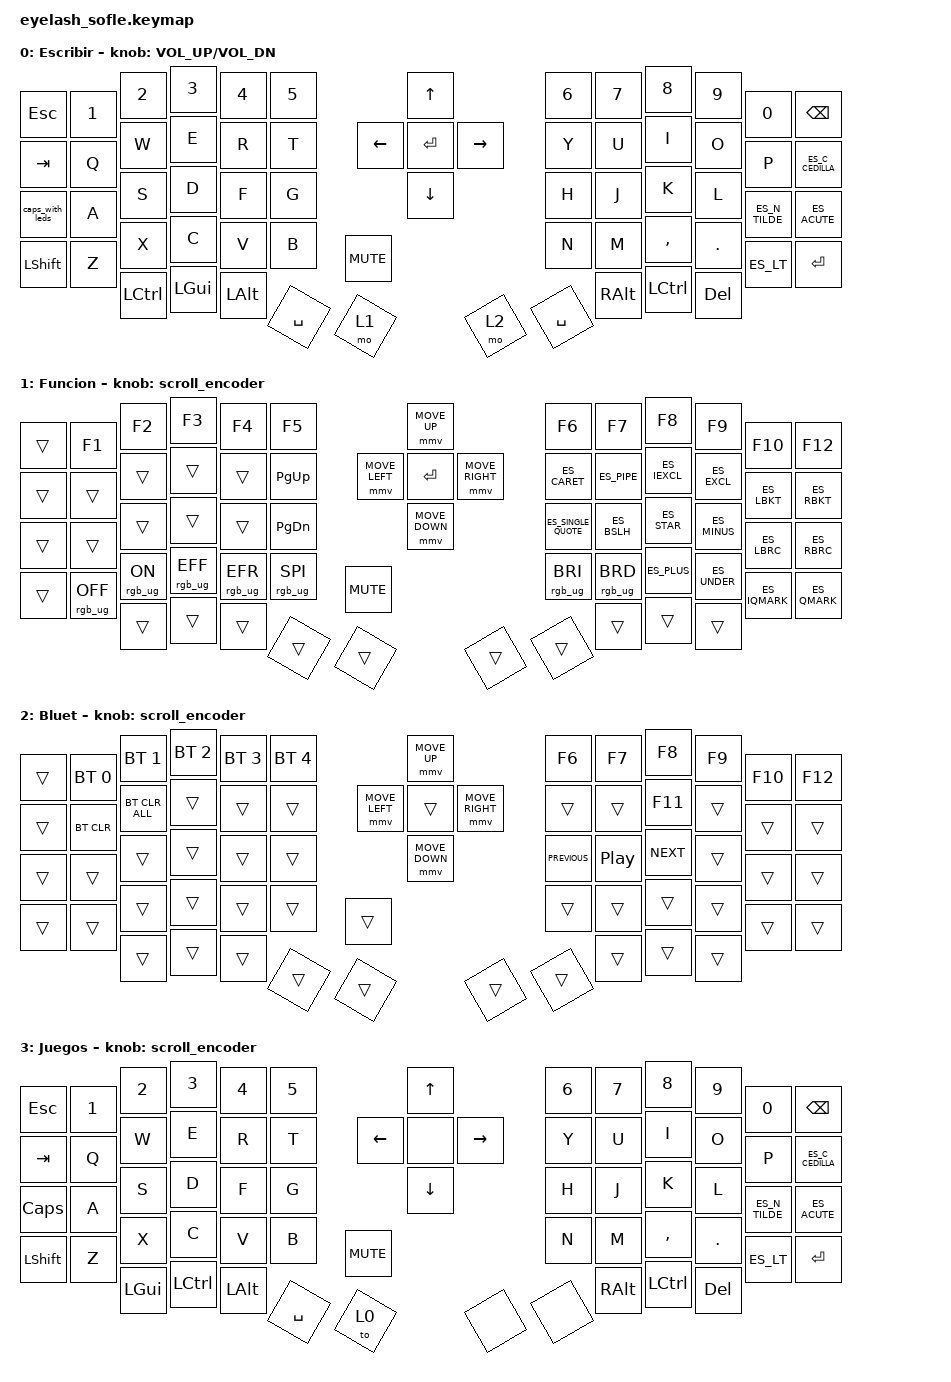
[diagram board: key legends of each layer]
#define ZMK_POINTING_DEFAULT_MOVE_VAL 1200  // 600
#define ZMK_POINTING_DEFAULT_SCRL_VAL 25   // 10
#define C_MUTE                 HID_USAGE(HID_USAGE_CONSUMER, 0xE2)
#define C_MICROPHONE_MUTE      HID_USAGE(HID_USAGE_CONSUMER, 0xF8)


#include <input/processors.dtsi>
#include <zephyr/dt-bindings/input/input-event-codes.h>
#include <behaviors.dtsi>
#include <dt-bindings/zmk/bt.h>
#include <dt-bindings/zmk/keys.h>
#include <dt-bindings/zmk/outputs.h>
#include <dt-bindings/zmk/pointing.h>
#include <dt-bindings/zmk/rgb.h>
#include "keys_es.h"

&mmv_input_listener { input-processors = <&zip_xy_scaler 2 1>; };

&msc_input_listener { input-processors = <&zip_scroll_scaler 2 1>; };

&msc {
    acceleration-exponent = <1>;      // 0
    time-to-max-speed-ms = <100>;       // 300
    delay-ms = <0>;                   // 0
};

&mmv {
    time-to-max-speed-ms = <500>;
    acceleration-exponent = <1>;
    trigger-period-ms = <16>;
};

&soft_off { hold-time-ms = <2000>; };

/ {
    scroll_encoder: scroll_encoder {
        compatible = "zmk,behavior-sensor-rotate";
        #sensor-binding-cells = <0>;
        bindings = <&msc SCRL_DOWN>, <&msc SCRL_UP>;

        tap-ms = <100>;
    };


    behaviors {
        caps_with_leds: caps_with_leds {
        compatible = "zmk,behavior-macro";
        #binding-cells = <0>;
    
        bindings = <&kp CAPSLOCK &rgb_ug RGB_TOG>;
        };
    };

    combos {
        compatible = "zmk,combos";

        softoff {
            bindings = <&soft_off>;
            key-positions = <14 28 40>;
        };

        to_layer3 {
            bindings = <&to 3>;
            key-positions = <57 59>;
        };

         back_to_layer0 {
            bindings = <&to 0>;
            key-positions = <57 59>;  
            layers = <3>;            
        };
    };

    keymap {
        compatible = "zmk,keymap";

//┌─────────────┬───────────┬───────────┬───────────┬───────────┬───────────┬─────────────┬───────────┬───────────┬───────────┬───────────┬───────────┬─────────────┐
//│    ESC    │    N1     │    N2     │    N3     │    N4     │    N5     │  UP_ARROW   │    N6     │    N7     │    N8     │    N9     │    N0     │   BACKSPACE   │
//├───────────┼───────────┼───────────┼───────────┼───────────┼───────────┼─────────────┼───────────┼───────────┼───────────┼───────────┼───────────┼───────────────┤
//│    TAB    │     Q     │     W     │     E     │     R     │     T     │ DOWN_ARROW  │     Y     │     U     │     I     │     O     │     P     │ ES_C_CEDILLA  │
//├───────────┼───────────┼───────────┼───────────┼───────────┼───────────┼─────────────┼───────────┼───────────┼───────────┼───────────┼───────────┼───────────────┤
//│   CAPS    │     A     │     S     │     D     │     F     │     G     │ LEFT_ARROW  │     H     │     J     │     K     │     L     │ ES_N_TILDE │   ES_ACUTE   │
//├───────────┼───────────┼───────────┼───────────┼───────────┼───────────┼─────────────┼───────────┼───────────┼───────────┼───────────┼───────────┼───────────────┤
//│  LSHFT    │     Z     │     X     │     C     │     V     │     B     │ RIGHT_ARROW │     N     │     M     │   COMMA   │    DOT    │   ES_LT   │     ENTER     │
//├───────────┼───────────┼───────────┼───────────┼───────────┼───────────┼─────────────┼───────────┼───────────┼───────────┼───────────┼───────────┴───────────────┤
//│  C_MUTE   │   LCTRL   │  LEFT_GUI │  LEFT_ALT │   SPACE   │   MO 1    │    ENTER    │   MO 2    │   SPACE   │   RALT    │   LCTRL   │   DELETE  │               │
//└───────────┴───────────┴───────────┴───────────┴───────────┴───────────┴─────────────┴───────────┴───────────┴───────────┴───────────┴───────────┴───────────────┘



        layer0 {
            bindings = <
&kp ESC     &kp N1     &kp N2        &kp N3        &kp N4  &kp N5       &kp UP_ARROW     &kp N6     &kp N7     &kp N8     &kp N9           &kp N0      &kp BACKSPACE
&kp TAB     &kp Q      &kp W         &kp E         &kp R   &kp T        &kp DOWN_ARROW   &kp Y      &kp U      &kp I      &kp O            &kp P       &kp ES_C_CEDILLA
&caps_with_leds  &kp A &kp S         &kp D         &kp F   &kp G   &kp LEFT_ARROW   &kp H      &kp J      &kp K      &kp L            &kp ES_N_TILDE  &kp ES_ACUTE
&kp LSHFT   &kp Z      &kp X         &kp C         &kp V   &kp B        &kp RIGHT_ARROW  &kp N      &kp M      &kp COMMA  &kp DOT          &kp ES_LT       &kp ENTER
&kp C_MUTE  &kp LCTRL  &kp LEFT_GUI  &kp LEFT_ALT  &kp SPACE &mo 1      &kp ENTER        &mo 2      &kp SPACE  &kp RALT   &kp LCTRL        &kp DELETE
            >;

            sensor-bindings = <&inc_dec_kp C_VOLUME_UP C_VOL_DN>;
            display-name = "Escribir";
        };

//┌───────────┬───────────┬───────────┬───────────┬───────────┬───────────┬─────────────┬───────────┬───────────┬───────────┬───────────┬───────────┬───────────────┐
//│   TRANS   │    F1     │    F2     │    F3     │    F4     │    F5     │  MOVE_UP    │    F6     │    F7     │    F8     │    F9     │   F10     │     F12       │
//├───────────┼───────────┼───────────┼───────────┼───────────┼───────────┼─────────────┼───────────┼───────────┼───────────┼───────────┼───────────┼───────────────┤
//│   TRANS   │   TRANS   │   TRANS   │   TRANS   │   TRANS   │  PAGE_UP  │ MOVE_DOWN   │   CARET   │     |     │    ¡      │     !     │     [     │     ]         │
//├───────────┼───────────┼───────────┼───────────┼───────────┼───────────┼─────────────┼───────────┼───────────┼───────────┼───────────┼───────────┼───────────────┤
//│   TRANS   │   TRANS   │   TRANS   │   TRANS   │   TRANS   │  PAGE_DN  │ MOVE_LEFT   │    '      │     \     │    *      │     -     │     {     │     }         │
//├───────────┼───────────┼───────────┼───────────┼───────────┼───────────┼─────────────┼───────────┼───────────┼───────────┼───────────┼───────────┼───────────────┤
//│   TRANS   │  RGB_OFF  │  RGB_ON   │  R_EFF    │  R_EFR    │  R_SPI    │ MOVE_RGHT   │  R_BRI    │  R_BRD    │    +      │    _      │    ¿      │     ?         │
//├───────────┼───────────┼───────────┼───────────┼───────────┼───────────┼─────────────┼───────────┼───────────┼───────────┼───────────┼───────────┴───────────────┤
//│   MUTE    │   TRANS   │   TRANS   │   TRANS   │   TRANS   │   TRANS   │    TRANS    │   TRANS   │   TRANS   │   TRANS   │   TRANS   │   TRANS   │               │
//└───────────┴───────────┴───────────┴───────────┴───────────┴───────────┴─────────────┴───────────┴───────────┴───────────┴───────────┴───────────┴───────────────┘



        layer_1 {
            bindings = <
&trans   &kp F1           &kp F2          &kp F3           &kp F4           &kp F5             &mmv MOVE_UP     &kp F6               &kp F7           &kp F8        &kp F9        &kp F10           &kp F12
&trans   &trans           &trans          &trans           &trans           &kp PG_UP          &mmv MOVE_DOWN   &kp ES_CARET         &kp ES_PIPE      &kp ES_IEXCL   &kp ES_EXCL  &kp ES_LBKT       &kp ES_RBKT
&trans   &trans           &trans          &trans           &trans           &kp PG_DN          &mmv MOVE_LEFT   &kp ES_SINGLE_QUOTE  &kp ES_BSLH      &kp ES_STAR   &kp ES_MINUS  &kp ES_LBRC       &kp ES_RBRC
&trans   &rgb_ug RGB_OFF  &rgb_ug RGB_ON  &rgb_ug RGB_EFF  &rgb_ug RGB_EFR  &rgb_ug RGB_SPI    &mmv MOVE_RIGHT  &rgb_ug RGB_BRI      &rgb_ug RGB_BRD  &kp ES_PLUS   &kp ES_UNDER   &kp ES_IQMARK     &kp ES_QMARK
&kp C_MUTE  &trans        &trans          &trans           &trans           &trans             &kp ENTER        &trans               &trans           &trans        &trans        &trans
            >;

            display-name = "Funcion";
            sensor-bindings = <&scroll_encoder>;
        };


//┌───────────┬────────────┬────────────┬────────────┬────────────┬────────────┬─────────────┬───────────┬───────────┬───────────┬───────────┬───────────┬───────────────┐
//│   TRANS   │ BT_SEL 0   │ BT_SEL 1   │ BT_SEL 2   │ BT_SEL 3   │ BT_SEL 4   │ MOVE_UP     │    F6     │    F7     │    F8     │    F9     │   F10     │    F12        │
//├───────────┼────────────┼────────────┼────────────┼────────────┼────────────┼─────────────┼───────────┼───────────┼───────────┼───────────┼───────────┼───────────────┤
//│   TRANS   │ BT_CLR     │ BT_CLR_ALL │   TRANS    │   TRANS    │   TRANS    │ MOVE_DOWN   │   TRANS   │   TRANS   │    F11    │   TRANS   │   TRANS   │    TRANS      │
//├───────────┼────────────┼────────────┼────────────┼────────────┼────────────┼─────────────┼───────────┼───────────┼───────────┼───────────┼───────────┼───────────────┤
//│   TRANS   │ TRANS      │ TRANS      │   TRANS    │   TRANS    │   TRANS    │ MOVE_LEFT   │   PREV    │   PLAY    │   NEXT    │   TRANS   │   TRANS   │    TRANS      │
//├───────────┼────────────┼────────────┼────────────┼────────────┼────────────┼─────────────┼───────────┼───────────┼───────────┼───────────┼───────────┼───────────────┤
//│   TRANS   │ TRANS      │   TRANS    │ BOOTLDR    │   TRANS    │   TRANS    │ MOVE_RGHT   │   TRANS   │   TRANS   │   TRANS   │   TRANS   │   TRANS   │    TRANS      │
//├───────────┼────────────┼────────────┼────────────┼────────────┼────────────┼─────────────┼───────────┼───────────┼───────────┼───────────┼───────────┴───────────────┤
//│   TRANS   │   TRANS    │   TRANS    │   TRANS    │   TRANS    │   TRANS    │    TRANS    │   TRANS   │   TRANS   │   TRANS   │   TRANS   │   TRANS   │               │
//└───────────┴────────────┴────────────┴────────────┴────────────┴────────────┴─────────────┴───────────┴───────────┴───────────┴───────────┴───────────┴───────────────┘


        layer_2 {
            bindings = <
&trans     &bt BT_SEL 0  &bt BT_SEL 1    &bt BT_SEL 2  &bt BT_SEL 3  &bt BT_SEL 4    &mmv MOVE_UP     &kp F6             &kp F7           &kp F8            &kp F9     &kp F10    &kp F12
&trans     &bt BT_CLR    &bt BT_CLR_ALL  &trans        &trans        &trans          &mmv MOVE_DOWN   &trans            &trans            &kp F11           &trans     &trans     &trans
&trans     &trans        &trans          &trans        &trans        &trans          &mmv MOVE_LEFT   &kp C_PREVIOUS    &kp C_PLAY_PAUSE  &kp C_NEXT        &trans     &trans     &trans
&trans     &trans        &trans          &trans        &trans        &trans          &mmv MOVE_RIGHT  &trans            &trans            &trans            &trans     &trans     &trans
&trans     &trans        &trans          &trans        &trans        &trans          &trans           &trans            &trans            &trans            &trans     &trans
            >;

            sensor-bindings = <&scroll_encoder>;
            display-name = "Bluet";
        };

//┌───────────┬────────────┬────────────┬────────────┬────────────┬────────────┬─────────────┬───────────┬───────────┬───────────┬────────────┬─────────────┬───────────────┐
//│   ESC     │     1      │     2      │     3      │     4      │     5      │  ↑ (UP)     │     6     │     7     │     8     │     9      │     0       │  BACKSPACE    │
//├───────────┼────────────┼────────────┼────────────┼────────────┼────────────┼─────────────┼───────────┼───────────┼───────────┼────────────┼─────────────┼───────────────┤
//│   TAB     │     Q      │     W      │     E      │     R      │     T      │  ↓ (DOWN)   │     Y     │     U     │     I     │     O      │     P       │     Ç         │
//├───────────┼────────────┼────────────┼────────────┼────────────┼────────────┼─────────────┼───────────┼───────────┼───────────┼────────────┼─────────────┼───────────────┤
//│  CAPS     │     A      │     S      │     D      │     F      │     G      │  ← (LEFT)   │     H     │     J     │     K     │     L      │     Ñ       │     ´         │
//├───────────┼────────────┼────────────┼────────────┼────────────┼────────────┼─────────────┼───────────┼───────────┼───────────┼────────────┼─────────────┼───────────────┤
//│  SHIFT    │     Z      │     X      │     C      │     V      │     B      │  → (RIGHT)  │     N     │     M     │     ,     │     .      │     <       │   ENTER       │
//├───────────┼────────────┼────────────┼────────────┼────────────┼────────────┼─────────────┼───────────┼───────────┼───────────┼────────────┼─────────────┴───────────────┤
//│  MUTE     │   GUI      │   CTRL     │   ALT      │  SPACE     │   LAYER0   │    ---      │   ---     │   ---     │   RALT    │   LCTRL    │   DELETE    │               │
//└───────────┴────────────┴────────────┴────────────┴────────────┴────────────┴─────────────┴───────────┴───────────┴───────────┴────────────┴─────────────┴───────────────┘

        layer_3 {
            bindings = <
&kp ESC     &kp N1     &kp N2        &kp N3        &kp N4  &kp N5       &kp UP_ARROW     &kp N6     &kp N7     &kp N8     &kp N9           &kp N0      &kp BACKSPACE
&kp TAB     &kp Q      &kp W         &kp E         &kp R   &kp T        &kp DOWN_ARROW   &kp Y      &kp U      &kp I      &kp O            &kp P       &kp ES_C_CEDILLA
&kp CAPS    &kp A      &kp S         &kp D         &kp F   &kp G        &kp LEFT_ARROW   &kp H      &kp J      &kp K      &kp L            &kp ES_N_TILDE  &kp ES_ACUTE
&kp LSHFT   &kp Z      &kp X         &kp C         &kp V   &kp B        &kp RIGHT_ARROW  &kp N      &kp M      &kp COMMA  &kp DOT          &kp ES_LT       &kp ENTER
&kp C_MUTE  &kp LEFT_GUI  &kp LCTRL  &kp LEFT_ALT  &kp SPACE   &to 0        &none         &none     &none      &kp RALT   &kp LCTRL        &kp DELETE
            >;

            sensor-bindings = <&scroll_encoder>;
            display-name = "Juegos";
        };
    };
};
